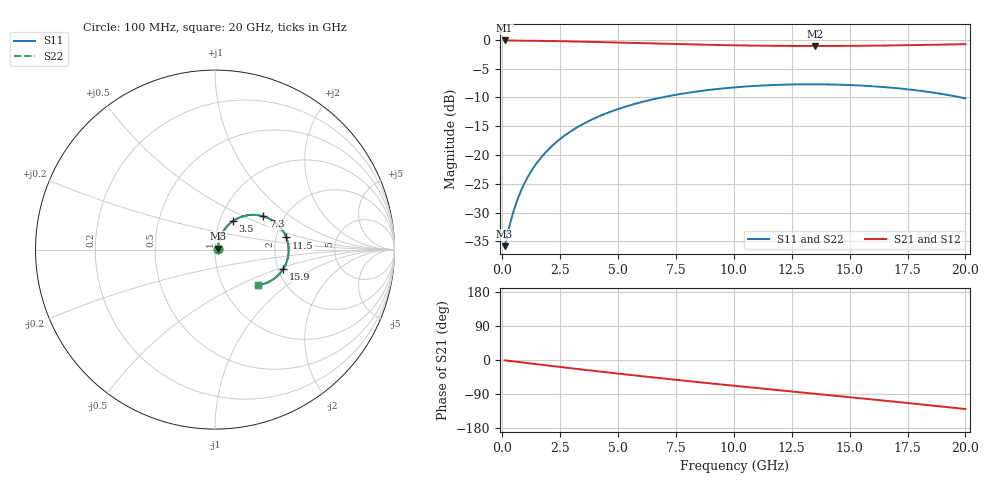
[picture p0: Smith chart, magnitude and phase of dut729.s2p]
! Touchstone file exported from HFSS 2026.1.0
!  File:  C:/ffzhzh/LocalFiles/Ansys_Project_Files/temp_train_TSV_RDL_729_1783202629_55132.aedt
!  Generated:  06:19:31 AM Jul  5, 2026
!  Design:  TSV_RDL
!  Project:  temp_train_TSV_RDL_729_1783202629_55132
! Variables:
!  h_bsmrdl = 5.14um
!  h_ox = 20um
!  h_rdl = 5um
!  h_sub = 76.16um
!  h_tmrdl = 5.17um
!  h_tsv = 76.16um
!  h_via = 3um
!  l_bsmrdl = 165.23um
!  l_sub = 2112.81um
!  l_tmrdl = 274.04um
!  m_sub = 200um
!  pitch = 33.53um
!  r_tsv = 2.57um
!  s_tmrdl = 10um
!  w_bsmrdl = 21.49um
!  w_sub = 500um
!  w_tmrdl = 18.83um
!  x_tsv_center1 = 283.455um
!  x_tsv_center2 = 470.175um
!  x_tsv_center3 = 763.045um
!  x_tsv_center4 = 949.765um
!  x_tsv_center5 = 1242.635um
!  x_tsv_center6 = 1429.355um
# GHz S MA R 50.000000
! Terminal data exported
! Port[1] = TM_RDL1_1_T1
! Port[2] = TM_RDL5_1_T1
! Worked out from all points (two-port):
!   200 points, 100 MHz to 20 GHz, reference 50 ohm
!   highest |S21| = -0.13 dB at 100 MHz (marker M1); lowest = -1.1 dB at 13.5 GHz (marker M2)
!   |S21| within 3 dB of the highest: start of sweep to end of sweep
!   lowest |S11| = -35.8 dB at 100 MHz (marker M3), VSWR 1.03, Z = 51.5 + j0.624 ohm
!   |S11| at or under -10 dB: start of sweep to 6.91 GHz; 19.79 GHz to end of sweep
!   |S22| runs from -35.8 to -7.7 dB; largest |S21 - S12| = 1.6e-14
!   S11 on the Smith chart (normalised r, x): 100 MHz: 1.03, +0.01; 3.5 GHz: 1.15, +0.38; 7.3 GHz: 1.57, +0.65; 11.5 GHz: 2.28, +0.37; 15.9 GHz: 2.14, -0.54; 20 GHz: 1.46, -0.64
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0.1  0.01617 22.0  0.9851 -0.8  0.9851 -0.8  0.01617 22.0
! Gamma 0 0 0 0
! Port Impedance 50 0 50 0
0.4  0.02833 52.6  0.9837 -3.0  0.9837 -3.0  0.02833 52.6
0.6  0.03814 60.1  0.9831 -4.5  0.9831 -4.5  0.03814 60.1
0.9  0.05374 65.1  0.982 -6.7  0.982 -6.7  0.05374 65.1
1.3  0.07505 67.0  0.9801 -9.7  0.9801 -9.7  0.07505 67.0
1.7  0.09632 66.7  0.9776 -12.6  0.9776 -12.6  0.09632 66.7
2.2  0.1224 64.9  0.9738 -16.3  0.9738 -16.3  0.1224 64.9
2.8  0.1527 61.9  0.9684 -20.6  0.9684 -20.6  0.1527 61.9
3.5  0.1861 57.9  0.9612 -25.6  0.9612 -25.6  0.1861 57.9
4.2  0.2174 53.6  0.9534 -30.4  0.9534 -30.4  0.2174 53.6
5  0.2503 48.6  0.944 -35.9  0.944 -35.9  0.2503 48.6
6.8  0.3129 37.5  0.9232 -47.8  0.9232 -47.8  0.3129 37.5
7.3  0.3275 34.5  0.9178 -51.1  0.9178 -51.1  0.3275 34.5
8.7  0.3619 26.1  0.9042 -59.9  0.9042 -59.9  0.3619 26.1
10.1  0.387 17.8  0.8933 -68.6  0.8933 -68.6  0.387 17.8
11.5  0.4029 9.7  0.886 -77.1  0.886 -77.1  0.4029 9.7
13.4  0.4104 -1.2  0.882 -88.5  0.882 -88.5  0.4104 -1.2
13.5  0.4104 -1.8  0.8819 -89.1  0.8819 -89.1  0.4104 -1.8
15.9  0.3957 -15.6  0.8871 -103.6  0.8871 -103.6  0.3957 -15.6
16.7  0.385 -20.2  0.8911 -108.5  0.8911 -108.5  0.385 -20.2
18.4  0.3526 -30.2  0.9022 -119.1  0.9022 -119.1  0.3526 -30.2
20  0.3099 -39.8  0.9152 -129.4  0.9152 -129.4  0.3099 -39.8
